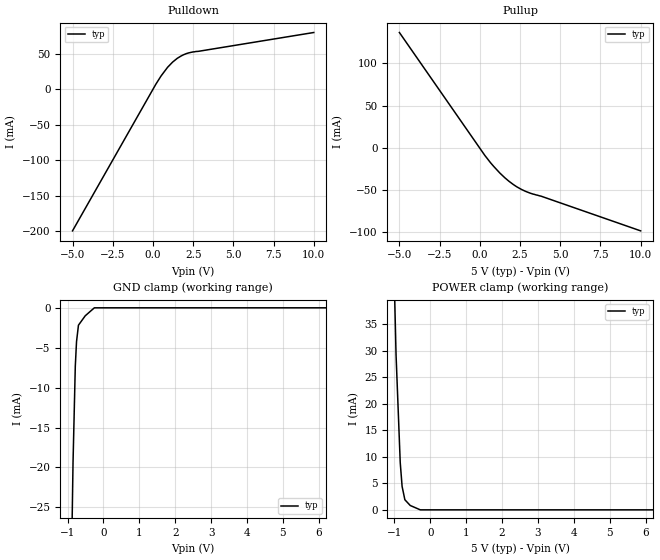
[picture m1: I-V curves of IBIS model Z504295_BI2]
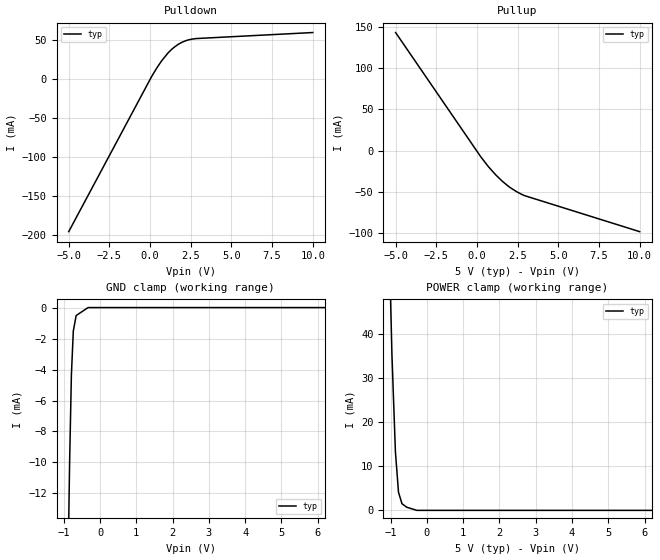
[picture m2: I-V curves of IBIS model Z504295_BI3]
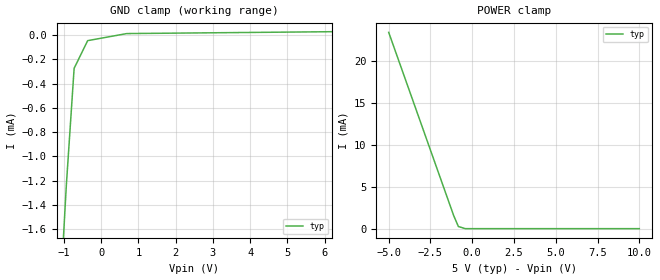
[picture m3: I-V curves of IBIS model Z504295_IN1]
| YOU ARE ONLY AUTHORIZED TO USE THIS SOFTWARE
| ACCORDING TO LICENSOR'S LICENSE RESTRICTIONS.
[IBIS Ver] 3.1
[File Name] mc54hct245aj.ibs
[File Rev] 2.0
[Source] Measured and created by ICX Technology
[Date] Friday 7/14/00 9:08:11 AM
[Copyright]
| (C) COPYRIGHT 1993-2000
| MENTOR GRAPHICS CORPORATION
| ICX STANDARD LIBRARY, ICX PROJECT MODELING,
| ICX CUSTOM MODELING, ICX VENDOR MODEL
| ALL RIGHTS RESERVED.
| THE FOLLOWING ARE TRADEMARKS OR SERVICE MARKS OF
| MENTOR GRAPHICS CORPORATION:ICX (R), ICX STANDARD
| LIBRARY(R), ICX PROJECT MODELING(R), ICX CUSTOM
| MODELING(R), qualityIBIS(TM), MODELVIEWER(TM),
| AND MODELEDITOR(TM)
| ALL COPIES OF SOFTWARE, INCLUDING BUT NOT LIMITED TO
| ANY MODIFICATIONS, ENHANCEMENTS OR DERIVATIVE WORKS,
| MUST CONTAIN ALL MENTOR GRAPHICS CORPORATION'S
| NOTICES AND LEGENDS, INCLUDING THOSE EMBEDDED IN
| SOFTWARE AND THOSE AFFIXED TO SOFTWARE MEDIUM
| AND CONTAINER, AS RECEIVED FROM MENTOR GRAPHICS
| CORPORATION.
|  ZAP Model Builder 2.7
[Component] MC54HCT245AJ
[Manufacturer] OnSemiconductor
[Package]
| variable   typ   min   max
R_pkg  .216ohms NA NA
L_pkg  5.76nH NA NA
C_pkg  2.193pF NA NA
[Pin] signal_name  model_name  R_pin  L_pin C_pin
1 DIR Z504295_IN1 .232 9.76n 3.179p
2 A0 Z504295_BI2 .224 7.26n 2.686p
3 A1 Z504295_BI2 .216 5.26n 2.193p
4 A2 Z504295_BI2 .208 3.76n 1.7p
5 A3 Z504295_BI2 .2 2.76n 1.207p
6 A4 Z504295_BI2 .2 2.76n 1.207p
7 A5 Z504295_BI2 .208 3.76n 1.7p
8 A6 Z504295_BI2 .216 5.26n 2.193p
9 A7 Z504295_BI2 .224 7.26n 2.686p
10 GND GND .232 9.76n 3.179p
11 B7 Z504295_BI3 .232 9.76n 3.179p
12 B6 Z504295_BI3 .224 7.26n 2.686p
13 B5 Z504295_BI3 .216 5.26n 2.193p
14 B4 Z504295_BI3 .208 3.76n 1.7p
15 B3 Z504295_BI3 .2 2.76n 1.207p
16 B2 Z504295_BI3 .2 2.76n 1.207p
17 B1 Z504295_BI3 .208 3.76n 1.7p
18 B0 Z504295_BI3 .216 5.26n 2.193p
19 _G Z504295_IN4 .224 7.26n 2.686p
20 VCC POWER .232 9.76n 3.179p
| Models and submodels in the file (4): Z504295_BI2 (I/O), Z504295_BI3 (I/O), Z504295_IN1 (Input), Z504295_IN4 (Input)
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| (C) COPYRIGHT 1993-2000
| MENTOR GRAPHICS CORPORATION
| ICX STANDARD LIBRARY, ICX PROJECT MODELING,
| ICX CUSTOM MODELING, ICX VENDOR MODEL
| ALL RIGHTS RESERVED.
| THE FOLLOWING ARE TRADEMARKS OR SERVICE MARKS OF
| MENTOR GRAPHICS CORPORATION:ICX (R), ICX STANDARD
| LIBRARY(R), ICX PROJECT MODELING(R), ICX CUSTOM
| MODELING(R), qualityIBIS(TM), MODELVIEWER(TM),
| AND MODELEDITOR(TM)
| ALL COPIES OF SOFTWARE, INCLUDING BUT NOT LIMITED TO
| ANY MODIFICATIONS, ENHANCEMENTS OR DERIVATIVE WORKS,
| MUST CONTAIN ALL MENTOR GRAPHICS CORPORATION'S
| NOTICES AND LEGENDS, INCLUDING THOSE EMBEDDED IN
| SOFTWARE AND THOSE AFFIXED TO SOFTWARE MEDIUM
| AND CONTAINER, AS RECEIVED FROM MENTOR GRAPHICS
| CORPORATION.
| Model Application Version 1.89 2/18/99.
[Model] Z504295_BI2
Model_type I/O
Vinl=800.0mV
Vinh=2.000V
Vref=0.000V
Rref=500.0Mohms
Cref=50.00pF
Vmeas=1.300V
C_comp 8.000pF NA NA
| variable typ   min   max
[Voltage Range] 5.000V NA NA
[POWER Clamp Reference] 5.000V NA NA
[Pullup Reference] 5.000V NA NA
[Pulldown Reference] 0.000V NA NA
[GND Clamp Reference] 0.000V NA NA
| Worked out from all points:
|   slope of the pulldown table from 0 to 0.75 V, typ, clamps not added: 28.6 ohm
|   slope of the pullup table from 0 to 0.75 V, typ, clamps not added: 39.3 ohm
|   GND clamp passes 1 mA (typ) near -0.51 V on its own axis
|   POWER clamp passes 1 mA (typ) near -0.59 V on its own axis
[GND Clamp]
-5V       -1.236A    NA         NA
-849.5mV  -19.47mA   NA         NA
-786.1mV  -7.343mA   NA         NA
-751.9mV  -4.249mA   NA         NA
-698.1mV  -2.179mA   NA         NA
-507.8mV  -994.3uA   NA         NA
-253.9mV  0A         NA         NA
10V       0A         NA         NA
[Pulldown]
-5V       -199.9mA   NA         NA
181.3mV   7.183mA    NA         NA
507.2mV   18.87mA    NA         NA
908.7mV   31mA       NA         NA
1.223V    38.4mA     NA         NA
1.775V    47.35mA    NA         NA
2.484V    52.77mA    NA         NA
10V       80.22mA    NA         NA
[Pullup]
-5V       136.6mA    NA         NA
313mV     -9.105mA   NA         NA
661mV     -17.62mA   NA         NA
1.246V    -29.98mA   NA         NA
1.816V    -39.79mA   NA         NA
2.305V    -46.4mA    NA         NA
3.135V    -53.87mA   NA         NA
3.794V    -57.32mA   NA         NA
10V       -98.54mA   NA         NA
[POWER Clamp]
-5V       1.444A     NA         NA
-1.106V   71.58mA    NA         NA
-957mV    29.32mA    NA         NA
-840mV    8.919mA    NA         NA
-788mV    4.426mA    NA         NA
-711mV    1.908mA    NA         NA
-561mV    822uA      NA         NA
-280.5mV  0A         NA         NA
10V       0A         NA         NA
[Ramp]
| variable typ min max
dV/dt_r 2.805/2.246n NA NA
dV/dt_f 2.805/2.122n NA NA
R_load = 500.0Ohms
| (C) COPYRIGHT 1993-2000
| MENTOR GRAPHICS CORPORATION
| ICX STANDARD LIBRARY, ICX PROJECT MODELING,
| ICX CUSTOM MODELING, ICX VENDOR MODEL
| ALL RIGHTS RESERVED.
| THE FOLLOWING ARE TRADEMARKS OR SERVICE MARKS OF
| MENTOR GRAPHICS CORPORATION:ICX (R), ICX STANDARD
| LIBRARY(R), ICX PROJECT MODELING(R), ICX CUSTOM
| MODELING(R), qualityIBIS(TM), MODELVIEWER(TM),
| AND MODELEDITOR(TM)
| ALL COPIES OF SOFTWARE, INCLUDING BUT NOT LIMITED TO
| ANY MODIFICATIONS, ENHANCEMENTS OR DERIVATIVE WORKS,
| MUST CONTAIN ALL MENTOR GRAPHICS CORPORATION'S
| NOTICES AND LEGENDS, INCLUDING THOSE EMBEDDED IN
| SOFTWARE AND THOSE AFFIXED TO SOFTWARE MEDIUM
| AND CONTAINER, AS RECEIVED FROM MENTOR GRAPHICS
| CORPORATION.
| Model Application Version 1.89 2/18/99.
[Model] Z504295_BI3
Model_type I/O
Vinl=800.0mV
Vinh=2.000V
Vref=0.000V
Rref=500.0Mohms
Cref=50.00pF
Vmeas=1.300V
C_comp 8.000pF NA NA
| variable typ   min   max
[Voltage Range] 5.000V NA NA
[POWER Clamp Reference] 5.000V NA NA
[Pullup Reference] 5.000V NA NA
[Pulldown Reference] 0.000V NA NA
[GND Clamp Reference] 0.000V NA NA
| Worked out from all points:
|   slope of the pulldown table from 0 to 0.75 V, typ, clamps not added: 30.1 ohm
|   slope of the pullup table from 0 to 0.75 V, typ, clamps not added: 37.9 ohm
|   GND clamp passes 1 mA (typ) near -0.70 V on its own axis
|   POWER clamp passes 1 mA (typ) near -0.60 V on its own axis
[GND Clamp]
-5V       -657.2mA   NA         NA
-839.8mV  -10.07mA   NA         NA
-790.3mV  -4.362mA   NA         NA
-737.3mV  -1.514mA   NA         NA
-658.3mV  -513.2uA   NA         NA
-329.1mV  0A         NA         NA
10V       0A         NA         NA
[Pulldown]
-5V       -195.6mA   NA         NA
102.5mV   3.941mA    NA         NA
700.1mV   23.56mA    NA         NA
1.108V    34.09mA    NA         NA
1.479V    41.25mA    NA         NA
2.148V    49.35mA    NA         NA
2.783V    52.42mA    NA         NA
10V       60.21mA    NA         NA
[Pullup]
-5V       143.5mA    NA         NA
234mV     -7.583mA   NA         NA
703mV     -19.6mA    NA         NA
1.152V    -29.52mA   NA         NA
1.562V    -37.4mA    NA         NA
1.891V    -42.79mA   NA         NA
2.09V     -45.7mA    NA         NA
2.461V    -50.3mA    NA         NA
2.782V    -53.6mA    NA         NA
2.897V    -54.67mA   NA         NA
10V       -98.64mA   NA         NA
[POWER Clamp]
-5V       1.393A     NA         NA
-965mV    35.46mA    NA         NA
-869mV    13.34mA    NA         NA
-784mV    4.131mA    NA         NA
-688mV    1.512mA    NA         NA
-557mV    712.9uA    NA         NA
-278.5mV  0A         NA         NA
10V       0A         NA         NA
[Ramp]
| variable typ min max
dV/dt_r 2.816/2.297n NA NA
dV/dt_f 2.816/1.840n NA NA
R_load = 500.0Ohms
| (C) COPYRIGHT 1993-2000
| MENTOR GRAPHICS CORPORATION
| ICX STANDARD LIBRARY, ICX PROJECT MODELING,
| ICX CUSTOM MODELING, ICX VENDOR MODEL
| ALL RIGHTS RESERVED.
| THE FOLLOWING ARE TRADEMARKS OR SERVICE MARKS OF
| MENTOR GRAPHICS CORPORATION:ICX (R), ICX STANDARD
| LIBRARY(R), ICX PROJECT MODELING(R), ICX CUSTOM
| MODELING(R), qualityIBIS(TM), MODELVIEWER(TM),
| AND MODELEDITOR(TM)
| ALL COPIES OF SOFTWARE, INCLUDING BUT NOT LIMITED TO
| ANY MODIFICATIONS, ENHANCEMENTS OR DERIVATIVE WORKS,
| MUST CONTAIN ALL MENTOR GRAPHICS CORPORATION'S
| NOTICES AND LEGENDS, INCLUDING THOSE EMBEDDED IN
| SOFTWARE AND THOSE AFFIXED TO SOFTWARE MEDIUM
| AND CONTAINER, AS RECEIVED FROM MENTOR GRAPHICS
| CORPORATION.
| Model Application Version 1.89 2/18/99.
[Model] Z504295_IN1
Model_type Input
Vinl = 800.0mV
Vinh = 2.000V
C_comp 4.000pF NA NA
| variable typ   min   max
[Voltage Range] 5.000V NA NA
[GND Clamp Reference] 0.000V NA NA
[POWER Clamp Reference] 5.000V NA NA
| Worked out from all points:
|   GND clamp passes 1 mA (typ) near -0.88 V on its own axis
[GND Clamp]
-5V       -23.77mA   NA         NA
-937.1mV  -1.241mA   NA         NA
-727.5mV  -273.8uA   NA         NA
-363.8mV  -45.25uA   NA         NA
686.8mV   13.05uA    NA         NA
10V       39.22uA    NA         NA
[POWER Clamp]
-5V       23.38mA    NA         NA
-1.113V   1.567mA    NA         NA
-829mV    252.2uA    NA         NA
-414.5mV  0A         NA         NA
10V       0A         NA         NA
